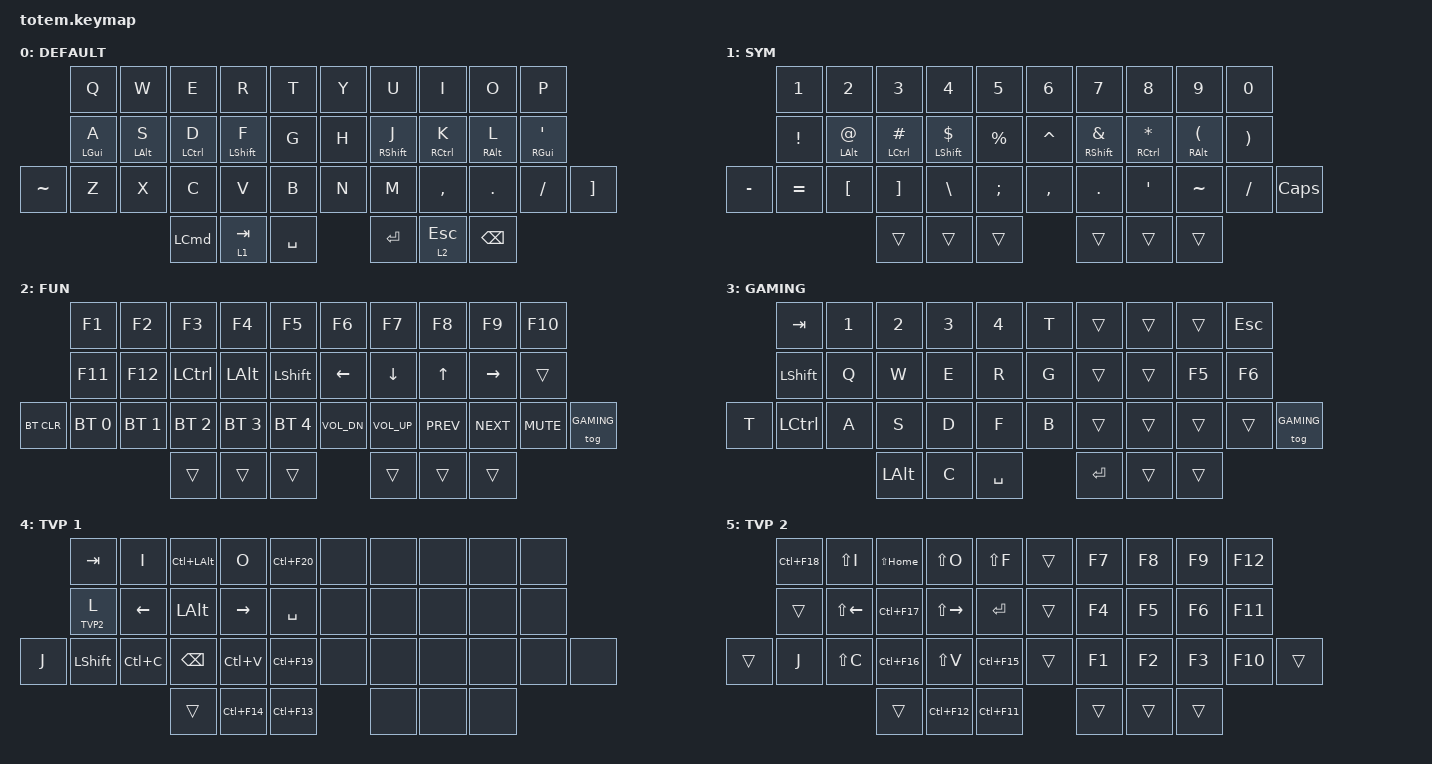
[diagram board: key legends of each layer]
//
//                                                        ▀▀▀▀▀     ▀▀▀▀▀          ▀▀█▀▀
//                                                        ▄▀▀▀▄  ▄  ▄▀▀▀▄  ▄  ▄▀▀▀▄  █  ▄▀▀▀▄
//                                                        █   █  █  █   █  █  █   █  █  █   █
//                                                         ▀▀▀   █   ▀▀▀   █   ▀▀▀   ▀   ▀▀▀
//                                                               █      ▄▄▄█▄▄▄    █   █  
//                                                               ▀      █  █  █     █▄█
//                                                             ▀▀▀▀▀    █  █  █      ▀
//                                                                      ▀  ▀  ▀
//
// ▄▄▄▄▄▄▄▄▄▄▄▄▄▄▄▄▄▄▄▄▄▄▄▄▄▄▄▄▄▄▄▄▄▄▄▄▄▄▄▄▄▄▄▄▄▄▄▄▄▄▄▄▄▄▄▄▄▄▄▄▄▄▄▄▄▄▄▄▄▄▄▄▄▄▄▄▄▄▄▄▄▄▄▄▄▄▄▄▄▄▄▄▄▄▄▄▄▄▄▄▄▄▄▄▄▄▄▄▄▄▄▄▄▄▄▄▄▄▄▄▄▄▄▄▄▄▄▄▄▄▄▄▄▄▄▄▄▄▄▄▄▄▄▄▄▄▄▄▄
       

#include <behaviors.dtsi>
#include <dt-bindings/zmk/keys.h>
#include <dt-bindings/zmk/bt.h>
#include <dt-bindings/zmk/outputs.h>

#define DEFAULT 0
#define SYM 1
#define FUN 2
#define GAMING 3
#define TVP1 4
#define TVP2 5

&mt {
  quick-tap-ms = <100>;
  global-quick-tap;
  flavor = "tap-preferred";
  tapping-term-ms = <170>;
};

/ {
     combos {
            compatible = "zmk,combos";
            combo_esc {
                timeout-ms = <50>;
                key-positions = <0 1>;
                bindings = <&kp ESC>;
            };
            combo_tvp {
                timeout-ms = <100>;
                key-positions = <11 12 13>;
                bindings = <&tog TVP1>;
            };
    };

    macros {
        gif: gif {
            label = "giphy";
            compatible = "zmk,behavior-macro";
            #binding-cells = <0>;
            bindings
                = <&macro_press &kp LSHFT>
                , <&macro_tap &kp N2>
                , <&macro_release &kp LSHFT>
                , <&macro_tap &kp G &kp I &kp F>
                ;
        };
    };

        keymap {
                compatible = "zmk,keymap";
// ▄▄▄▄▄▄▄▄▄▄▄▄▄▄▄▄▄▄▄▄▄▄▄▄▄▄▄▄▄▄▄▄▄▄▄▄▄▄▄▄▄▄▄▄▄▄▄▄▄▄▄▄▄▄▄▄▄▄▄▄▄▄▄▄▄▄▄▄▄▄▄▄▄▄▄▄▄▄▄▄▄▄▄▄▄▄▄▄▄▄▄▄▄▄▄▄▄▄▄▄▄▄▄▄▄▄▄▄▄▄▄▄▄▄▄▄▄▄▄▄▄▄▄▄▄▄▄▄▄▄▄▄▄▄▄▄▄▄▄▄▄▄▄▄▄▄▄▄▄

                default_layer {
// ┏━━━━━━━━━━━━━━━━━━━━━━━━━━━━━━━━━━━━━━━┓
label= "DEFAULT"                           ;
// ┗━━━━━━━━━━━━━━━━━━━━━━━━━━━━━━━━━━━━━━━┛
//             ┏━━━━━━━━━━━┳━━━━━━━━━━━┳━━━━━━━━━━━┳━━━━━━━━━━━┳━━━━━━━━━━━┓   ┏━━━━━━━━━━━┳━━━━━━━━━━━┳━━━━━━━━━━━┳━━━━━━━━━━━┳━━━━━━━━━━━┓
//             ┃     Q     ┃     W     ┃     E     ┃     R     ┃     T     ┃   ┃     Y     ┃     U     ┃     I     ┃     O     ┃     P     ┃
//             ┣━━━━━━━━━━━╋━━━━━━━━━━━╋━━━━━━━━━━━╋━━━━━━━━━━━╋━━━━━━━━━━━┫   ┣━━━━━━━━━━━╋━━━━━━━━━━━╋━━━━━━━━━━━╋━━━━━━━━━━━╋━━━━━━━━━━━┫
//             ┃     A     ┃     S     ┃     D     ┃     F     ┃     G     ┃   ┃     H     ┃     J     ┃     K     ┃     L     ┃     '     ┃
// ┏━━━━━━━━━━━╋━━━━━━━━━━━╋━━━━━━━━━━━╋━━━━━━━━━━━╋━━━━━━━━━━━╋━━━━━━━━━━━┫   ┣━━━━━━━━━━━╋━━━━━━━━━━━╋━━━━━━━━━━━╋━━━━━━━━━━━╋━━━━━━━━━━━╋━━━━━━━━━━━┓
// ┃     ~     ┃     Z     ┃     X     ┃     C     ┃     V     ┃     B     ┃   ┃     N     ┃     M     ┃     ,     ┃     .     ┃     /     ┃     ;     ┃
// ┗━━━━━━━━━━━┻━━━━━━━━━━━┻━━━━━━━━━━━╋━━━━━━━━━━━╋━━━━━━━━━━━╋━━━━━━━━━━━┫   ┣━━━━━━━━━━━╋━━━━━━━━━━━╋━━━━━━━━━━━╋━━━━━━━━━━━┻━━━━━━━━━━━┻━━━━━━━━━━━┛
//                                     ┃   LGUI    ┃    TAB    ┃    SPC    ┃   ┃   ENTER   ┃    ESC    ┃    BSPC   ┃
//                                     ┗━━━━━━━━━━━┻━━━━━━━━━━━┻━━━━━━━━━━━┛   ┗━━━━━━━━━━━┻━━━━━━━━━━━┻━━━━━━━━━━━┛
 bindings = <
// ╷           ╷           ╷           ╷           ╷           ╷           ╷   ╷           ╷           ╷           ╷           ╷           ╷           ╷

                &kp Q       &kp W       &kp E       &kp R       &kp T           &kp Y       &kp U       &kp I       &kp O       &kp P
                &mt LGUI A       &mt LALT S  &mt LCTRL D &mt LSHFT F &kp G           &kp H       &mt RSHFT J &mt RCTRL K &mt RALT L  &mt RGUI SQT
    &kp TILDE   &kp Z       &kp X       &kp C       &kp V       &kp B           &kp N       &kp M       &kp COMMA   &kp DOT     &kp SLASH   &kp RIGHT_BRACKET
                                     // &kp LGUI  &mo 1         &kp SPACE       &kp RET     &mo 2       &kp RALT
                                     // &kp DEL   &lt NAV TAB   &kp SPACE       &kp RET     &lt SYM ESC &kp BSPC ---------------OLD
                                        &kp LEFT_COMMAND  &lt 1 TAB     &kp SPACE       &kp RET     &lt 2 ESC   &kp BSPC
                        >;
                };

// ▄▄▄▄▄▄▄▄▄▄▄▄▄▄▄▄▄▄▄▄▄▄▄▄▄▄▄▄▄▄▄▄▄▄▄▄▄▄▄▄▄▄▄▄▄▄▄▄▄▄▄▄▄▄▄▄▄▄▄▄▄▄▄▄▄▄▄▄▄▄▄▄▄▄▄▄▄▄▄▄▄▄▄▄▄▄▄▄▄▄▄▄▄▄▄▄▄▄▄▄▄▄▄▄▄▄▄▄▄▄▄▄▄▄▄▄▄▄▄▄▄▄▄▄▄▄▄▄▄▄▄▄▄▄▄▄▄▄▄▄▄▄▄▄▄▄▄▄▄


               sym_layer {
// ┏━━━━━━━━━━━━━━━━━━━━━━━━━━━━━━━━━━━━━━━┓
label= "SYM"                               ;
// ┗━━━━━━━━━━━━━━━━━━━━━━━━━━━━━━━━━━━━━━━┛
//             ┏━━━━━━━━━━━┳━━━━━━━━━━━┳━━━━━━━━━━━┳━━━━━━━━━━━┳━━━━━━━━━━━┓   ┏━━━━━━━━━━━┳━━━━━━━━━━━┳━━━━━━━━━━━┳━━━━━━━━━━━┳━━━━━━━━━━━┓
//             ┃     1     ┃     2     ┃     3     ┃     4     ┃    5      ┃   ┃     6     ┃     7     ┃     8     ┃     9     ┃     0     ┃
//             ┣━━━━━━━━━━━╋━━━━━━━━━━━╋━━━━━━━━━━━╋━━━━━━━━━━━╋━━━━━━━━━━━┫   ┣━━━━━━━━━━━╋━━━━━━━━━━━╋━━━━━━━━━━━╋━━━━━━━━━━━╋━━━━━━━━━━━┫
//             ┃     !     ┃     @     ┃     #     ┃     $     ┃     %     ┃   ┃     ^     ┃      &    ┃     *     ┃      (    ┃     )     ┃
// ┏━━━━━━━━━━━╋━━━━━━━━━━━╋━━━━━━━━━━━╋━━━━━━━━━━━╋━━━━━━━━━━━╋━━━━━━━━━━━┫   ┣━━━━━━━━━━━╋━━━━━━━━━━━╋━━━━━━━━━━━╋━━━━━━━━━━━╋━━━━━━━━━━━╋━━━━━━━━━━━┓
// ┃     -     ┃     =     ┃     [     ┃     ]     ┃    \      ┃     ;     ┃   ┃     ,     ┃      .    ┃    '      ┃     ~     ┃      /    ┃ CAPSLOCK  ┃
// ┗━━━━━━━━━━━┻━━━━━━━━━━━┻━━━━━━━━━━━╋━━━━━━━━━━━╋━━━━━━━━━━━╋━━━━━━━━━━━┫   ┣━━━━━━━━━━━╋━━━━━━━━━━━╋━━━━━━━━━━━╋━━━━━━━━━━━┻━━━━━━━━━━━┻━━━━━━━━━━━┛
//                                     ┃           ┃           ┃           ┃   ┃           ┃           ┃           ┃
//                                     ┗━━━━━━━━━━━┻━━━━━━━━━━━┻━━━━━━━━━━━┛   ┗━━━━━━━━━━━┻━━━━━━━━━━━┻━━━━━━━━━━━┛
 bindings = <
// ╷           ╷           ╷           ╷           ╷           ╷           ╷   ╷           ╷           ╷           ╷           ╷           ╷           ╷
                   &kp N1      &kp N2      &kp N3      &kp N4      &kp N5          &kp N6    &kp N7      &kp N8      &kp N9      &kp N0      
                   &kp EXCL    &mt LALT AT      &mt LCTRL HASH    &mt LSHFT DOLLAR  &kp PERCENT     &kp CARET  &mt RSHFT AMPERSAND  &mt RCTRL ASTERISK   &mt RALT LPAR  &kp RPAR
                   &kp MINUS   &kp EQUAL   &kp LEFT_BRACKET     &kp RIGHT_BRACKET    &kp BACKSLASH       &kp SEMICOLON   &kp COMMA   &kp DOT     &kp APOSTROPHE     &kp TILDE    &kp SLASH   &kp CAPSLOCK
      //&trans       &trans      &trans      &trans      &trans      &trans             &mt LSHFT MINUS      &mt LSHFT EQUAL
                                           &trans      &trans      &trans          &trans    &trans    &trans 
                        >;
                };
                
               
// ▄▄▄▄▄▄▄▄▄▄▄▄▄▄▄▄▄▄▄▄▄▄▄▄▄▄▄▄▄▄▄▄▄▄▄▄▄▄▄▄▄▄▄▄▄▄▄▄▄▄▄▄▄▄▄▄▄▄▄▄▄▄▄▄▄▄▄▄▄▄▄▄▄▄▄▄▄▄▄▄▄▄▄▄▄▄▄▄▄▄▄▄▄▄▄▄▄▄▄▄▄▄▄▄▄▄▄▄▄▄▄▄▄▄▄▄▄▄▄▄▄▄▄▄▄▄▄▄▄▄▄▄▄▄▄▄▄▄▄▄▄▄▄▄▄▄▄▄▄


                fun_layer {
// ┏━━━━━━━━━━━━━━━━━━━━━━━━━━━━━━━━━━━━━━━┓
label= "FUN"                               ;
// ┗━━━━━━━━━━━━━━━━━━━━━━━━━━━━━━━━━━━━━━━┛
//             ┏━━━━━━━━━━━┳━━━━━━━━━━━┳━━━━━━━━━━━┳━━━━━━━━━━━┳━━━━━━━━━━━┓   ┏━━━━━━━━━━━┳━━━━━━━━━━━┳━━━━━━━━━━━┳━━━━━━━━━━━┳━━━━━━━━━━━┓
//             ┃     F1    ┃     F2    ┃     F3    ┃     F4    ┃     F5    ┃   ┃     F6    ┃     F7    ┃     F8    ┃     F9    ┃     F10   ┃
//             ┣━━━━━━━━━━━╋━━━━━━━━━━━╋━━━━━━━━━━━╋━━━━━━━━━━━╋━━━━━━━━━━━┫   ┣━━━━━━━━━━━╋━━━━━━━━━━━╋━━━━━━━━━━━╋━━━━━━━━━━━╋━━━━━━━━━━━┫
//             ┃    F11    ┃    F12    ┃  CONTROL  ┃    ALT    ┃  SHIFT    ┃   ┃   LEFT    ┃   DOWN    ┃     UP    ┃   RIGHT   ┃           ┃
// ┏━━━━━━━━━━━╋━━━━━━━━━━━╋━━━━━━━━━━━╋━━━━━━━━━━━╋━━━━━━━━━━━╋━━━━━━━━━━━┫   ┣━━━━━━━━━━━╋━━━━━━━━━━━╋━━━━━━━━━━━╋━━━━━━━━━━━╋━━━━━━━━━━━╋━━━━━━━━━━━┓
// ┃   BTCLR   ┃    BT1    ┃    BT2    ┃    BT3    ┃    BT4    ┃     BT5   ┃   ┃   VOL-    ┃   VOL+    ┃   LAST    ┃   NEXT    ┃    MUTE   ┃           ┃
// ┗━━━━━━━━━━━┻━━━━━━━━━━━┻━━━━━━━━━━━╋━━━━━━━━━━━╋━━━━━━━━━━━╋━━━━━━━━━━━┫   ┣━━━━━━━━━━━╋━━━━━━━━━━━╋━━━━━━━━━━━╋━━━━━━━━━━━┻━━━━━━━━━━━┻━━━━━━━━━━━┛
//                                     ┃           ┃           ┃           ┃   ┃           ┃           ┃           ┃    
//                                     ┗━━━━━━━━━━━┻━━━━━━━━━━━┻━━━━━━━━━━━┛   ┗━━━━━━━━━━━┻━━━━━━━━━━━┻━━━━━━━━━━━┛
 bindings = <
// ╷           ╷           ╷           ╷           ╷           ╷           ╷   ╷           ╷           ╷           ╷           ╷           ╷           ╷

                &kp F1      &kp F2      &kp F3       &kp F4      &kp F5          &kp F6       &kp F7     &kp F8      &kp F9       &kp F10       
                &kp F11     &kp F12     &kp LEFT_CONTROL     &kp LEFT_ALT    &kp LEFT_SHIFT          &kp LEFT     &kp DOWN   &kp UP      &kp RIGHT       &trans
    &bt BT_CLR  &bt BT_SEL 0 &bt BT_SEL 1 &bt BT_SEL 2  &bt BT_SEL 3 &bt BT_SEL 4     &kp C_VOL_DN &kp C_VOL_UP &kp C_PREV &kp C_NEXT  &kp C_MUTE   &tog GAMING        
                                        &trans       &trans      &trans          &trans       &trans     &trans      
                        >;
                };

                

// ▄▄▄▄▄▄▄▄▄▄▄▄▄▄▄▄▄▄▄▄▄▄▄▄▄▄▄▄▄▄▄▄▄▄▄▄▄▄▄▄▄▄▄▄▄▄▄▄▄▄▄▄▄▄▄▄▄▄▄▄▄▄▄▄▄▄▄▄▄▄▄▄▄▄▄▄▄▄▄▄▄▄▄▄▄▄▄▄▄▄▄▄▄▄▄▄▄▄▄▄▄▄▄▄▄▄▄▄▄▄▄▄▄▄▄▄▄▄▄▄▄▄▄▄▄▄▄▄▄▄▄▄▄▄▄▄▄▄▄▄▄▄▄▄▄▄▄▄▄


                gaming_layer {
// ┏━━━━━━━━━━━━━━━━━━━━━━━━━━━━━━━━━━━━━━━┓
label= "GAMING"                            ;
// ┗━━━━━━━━━━━━━━━━━━━━━━━━━━━━━━━━━━━━━━━┛
//             ┏━━━━━━━━━━━┳━━━━━━━━━━━┳━━━━━━━━━━━┳━━━━━━━━━━━┳━━━━━━━━━━━┓   ┏━━━━━━━━━━━┳━━━━━━━━━━━┳━━━━━━━━━━━┳━━━━━━━━━━━┳━━━━━━━━━━━┓
//             ┃    TAB    ┃     1     ┃     2     ┃      3    ┃     4     ┃   ┃   SPRAY   ┃           ┃           ┃           ┃    ESC    ┃
//             ┣━━━━━━━━━━━╋━━━━━━━━━━━╋━━━━━━━━━━━╋━━━━━━━━━━━╋━━━━━━━━━━━┫   ┣━━━━━━━━━━━╋━━━━━━━━━━━╋━━━━━━━━━━━╋━━━━━━━━━━━╋━━━━━━━━━━━┫
//             ┃   SHIFT   ┃      Q    ┃     W     ┃     E     ┃     R     ┃   ┃     G     ┃           ┃           ┃     F5    ┃     F6    ┃
// ┏━━━━━━━━━━━╋━━━━━━━━━━━╋━━━━━━━━━━━╋━━━━━━━━━━━╋━━━━━━━━━━━╋━━━━━━━━━━━┫   ┣━━━━━━━━━━━╋━━━━━━━━━━━╋━━━━━━━━━━━╋━━━━━━━━━━━╋━━━━━━━━━━━╋━━━━━━━━━━━┓
// ┃     T     ┃  CONTROL  ┃      A    ┃     S     ┃     D     ┃     F     ┃   ┃     B     ┃           ┃           ┃           ┃           ┃    TOG    ┃
// ┗━━━━━━━━━━━┻━━━━━━━━━━━┻━━━━━━━━━━━╋━━━━━━━━━━━╋━━━━━━━━━━━╋━━━━━━━━━━━┫   ┣━━━━━━━━━━━╋━━━━━━━━━━━╋━━━━━━━━━━━╋━━━━━━━━━━━┻━━━━━━━━━━━┻━━━━━━━━━━━┛
//                                     ┃    ALT    ┃     C     ┃   SPACE   ┃   ┃   ENTER   ┃           ┃           ┃
//                                     ┗━━━━━━━━━━━┻━━━━━━━━━━━┻━━━━━━━━━━━┛   ┗━━━━━━━━━━━┻━━━━━━━━━━━┻━━━━━━━━━━━┛
 bindings = <
// ╷           ╷           ╷           ╷           ╷           ╷           ╷   ╷           ╷           ╷           ╷           ╷           ╷           ╷

                &kp TAB      &kp N1      &kp N2      &kp N3      &kp N4          &kp T      &trans      &trans      &trans      &kp ESC
                &kp LSHFT    &kp Q       &kp W       &kp E       &kp R           &kp G      &trans      &trans      &kp F5      &kp F6  
    &kp T       &kp LCTRL    &kp A       &kp S       &kp D       &kp F           &kp B      &trans      &trans      &trans      &trans      &tog GAMING         
                                         &kp LALT    &kp C       &kp SPACE       &kp RET     &trans      &trans      
                        >;
                };

// ▄▄▄▄▄▄▄▄▄▄▄▄▄▄▄▄▄▄▄▄▄▄▄▄▄▄▄▄▄▄▄▄▄▄▄▄▄▄▄▄▄▄▄▄▄▄▄▄▄▄▄▄▄▄▄▄▄▄▄▄▄▄▄▄▄▄▄▄▄▄▄▄▄▄▄▄▄▄▄▄▄▄▄▄▄▄▄▄▄▄▄▄▄▄▄▄▄▄▄▄▄▄▄▄▄▄▄▄▄▄▄▄▄▄▄▄▄▄▄▄▄▄▄▄▄▄▄▄▄▄▄▄▄▄▄▄▄▄▄▄▄▄▄▄▄▄▄▄▄


                tvp1_layer {
// ┏━━━━━━━━━━━━━━━━━━━━━━━━━━━━━━━━━━━━━━━┓
label= "TVP 1"                             ;
// ┗━━━━━━━━━━━━━━━━━━━━━━━━━━━━━━━━━━━━━━━┛
//             ┏━━━━━━━━━━━┳━━━━━━━━━━━┳━━━━━━━━━━━┳━━━━━━━━━━━┳━━━━━━━━━━━┓   ┏━━━━━━━━━━━┳━━━━━━━━━━━┳━━━━━━━━━━━┳━━━━━━━━━━━┳━━━━━━━━━━━┓
//             ┃ NEXT FILE ┃ MARK IN   ┃ ROTATE    ┃ MARK OUT  ┃ SHOW SNAP ┃   ┃           ┃           ┃           ┃           ┃           ┃
//             ┣━━━━━━━━━━━╋━━━━━━━━━━━╋━━━━━━━━━━━╋━━━━━━━━━━━╋━━━━━━━━━━━┫   ┣━━━━━━━━━━━╋━━━━━━━━━━━╋━━━━━━━━━━━╋━━━━━━━━━━━╋━━━━━━━━━━━┫
//             ┃ TVP II    ┃ LEFT      ┃ PAN       ┃ RIGHT     ┃ PLAY/FLIP ┃   ┃           ┃           ┃           ┃           ┃           ┃
// ┏━━━━━━━━━━━╋━━━━━━━━━━━╋━━━━━━━━━━━╋━━━━━━━━━━━╋━━━━━━━━━━━╋━━━━━━━━━━━┫   ┣━━━━━━━━━━━╋━━━━━━━━━━━╋━━━━━━━━━━━╋━━━━━━━━━━━╋━━━━━━━━━━━╋━━━━━━━━━━━┓
// ┃ FULLSCR   ┃ SHIFT     ┃ COPY      ┃ DELETE    ┃ PASTE     ┃ IMG MARK  ┃   ┃           ┃           ┃           ┃           ┃           ┃           ┃
// ┗━━━━━━━━━━━┻━━━━━━━━━━━┻━━━━━━━━━━━╋━━━━━━━━━━━╋━━━━━━━━━━━╋━━━━━━━━━━━┫   ┣━━━━━━━━━━━╋━━━━━━━━━━━╋━━━━━━━━━━━╋━━━━━━━━━━━┻━━━━━━━━━━━┻━━━━━━━━━━━┛
//                                     ┃           ┃ UNDO/SAVE ┃  SEL/MOV  ┃   ┃           ┃           ┃           ┃
//                                     ┗━━━━━━━━━━━┻━━━━━━━━━━━┻━━━━━━━━━━━┛   ┗━━━━━━━━━━━┻━━━━━━━━━━━┻━━━━━━━━━━━┛
 bindings = <
// ╷           ╷           ╷           ╷           ╷           ╷           ╷   ╷           ╷           ╷           ╷           ╷           ╷           ╷

                &kp TAB     &kp I       &kp LC(LALT) &kp O      &kp LC(F20)     &none       &none       &none       &none       &none
                &lt TVP2 L  &kp LEFT    &kp LALT    &kp RIGHT   &kp SPACE       &none       &none       &none       &none       &none
    &kp J       &kp LSHFT   &kp LC(C)   &kp BSPC    &kp LC(V)   &kp LC(F19)     &none       &none       &none       &none       &none       &none        
                                        &trans      &kp LC(F14) &kp LC(F13)     &none       &none       &none    
                        >;
                };

// ▄▄▄▄▄▄▄▄▄▄▄▄▄▄▄▄▄▄▄▄▄▄▄▄▄▄▄▄▄▄▄▄▄▄▄▄▄▄▄▄▄▄▄▄▄▄▄▄▄▄▄▄▄▄▄▄▄▄▄▄▄▄▄▄▄▄▄▄▄▄▄▄▄▄▄▄▄▄▄▄▄▄▄▄▄▄▄▄▄▄▄▄▄▄▄▄▄▄▄▄▄▄▄▄▄▄▄▄▄▄▄▄▄▄▄▄▄▄▄▄▄▄▄▄▄▄▄▄▄▄▄▄▄▄▄▄▄▄▄▄▄▄▄▄▄▄▄▄▄


                tvp2_layer {
// ┏━━━━━━━━━━━━━━━━━━━━━━━━━━━━━━━━━━━━━━━┓
label= "TVP 2"                             ;
// ┗━━━━━━━━━━━━━━━━━━━━━━━━━━━━━━━━━━━━━━━┛
//             ┏━━━━━━━━━━━┳━━━━━━━━━━━┳━━━━━━━━━━━┳━━━━━━━━━━━┳━━━━━━━━━━━┓   ┏━━━━━━━━━━━┳━━━━━━━━━━━┳━━━━━━━━━━━┳━━━━━━━━━━━┳━━━━━━━━━━━┓
//             ┃ SOLO      ┃ TOGGLE IN ┃ RESET ROT ┃ TOGGLE OUT┃ TAKE SNAP ┃   ┃           ┃           ┃           ┃           ┃           ┃
//             ┣━━━━━━━━━━━╋━━━━━━━━━━━╋━━━━━━━━━━━╋━━━━━━━━━━━╋━━━━━━━━━━━┫   ┣━━━━━━━━━━━╋━━━━━━━━━━━╋━━━━━━━━━━━╋━━━━━━━━━━━╋━━━━━━━━━━━┫
//             ┃ ---       ┃ LAST KEY  ┃ NEW KEY   ┃ NEXT KEY  ┃ ENTER     ┃   ┃           ┃           ┃           ┃           ┃           ┃
// ┏━━━━━━━━━━━╋━━━━━━━━━━━╋━━━━━━━━━━━╋━━━━━━━━━━━╋━━━━━━━━━━━╋━━━━━━━━━━━┫   ┣━━━━━━━━━━━╋━━━━━━━━━━━╋━━━━━━━━━━━╋━━━━━━━━━━━╋━━━━━━━━━━━╋━━━━━━━━━━━┓
// ┃           ┃ FULLSCR   ┃ CPY2BRUSH ┃ DEL HEAD  ┃ PSTinPLACE┃ BOOK MARK ┃   ┃           ┃           ┃           ┃           ┃           ┃           ┃
// ┗━━━━━━━━━━━┻━━━━━━━━━━━┻━━━━━━━━━━━╋━━━━━━━━━━━╋━━━━━━━━━━━╋━━━━━━━━━━━┫   ┣━━━━━━━━━━━╋━━━━━━━━━━━╋━━━━━━━━━━━╋━━━━━━━━━━━┻━━━━━━━━━━━┻━━━━━━━━━━━┛
//                                     ┃           ┃ REDO/SAV1 ┃TRANS/WARP ┃   ┃           ┃           ┃           ┃
//                                     ┗━━━━━━━━━━━┻━━━━━━━━━━━┻━━━━━━━━━━━┛   ┗━━━━━━━━━━━┻━━━━━━━━━━━┻━━━━━━━━━━━┛
 bindings = <
// ╷           ╷           ╷           ╷           ╷           ╷           ╷   ╷           ╷           ╷           ╷           ╷           ╷           ╷

                &kp LC(F18) &kp LS(I)  &kp LS(HOME) &kp LS(O)   &kp LS(F)       &trans      &kp F7      &kp F8      &kp F9      &kp F12
                &trans      &kp LS(LEFT) &kp LC(F17) &kp LS(RIGHT) &kp RET      &trans      &kp F4      &kp F5      &kp F6      &kp F11  
    &trans      &kp J       &kp LS(C)   &kp LC(F16) &kp LS(V)   &kp LC(F15)     &trans      &kp F1      &kp F2      &kp F3      &kp F10     &trans         
                                        &trans      &kp LC(F12) &kp LC(F11)     &trans      &trans      &trans      
                        >;
                };
        };
};
